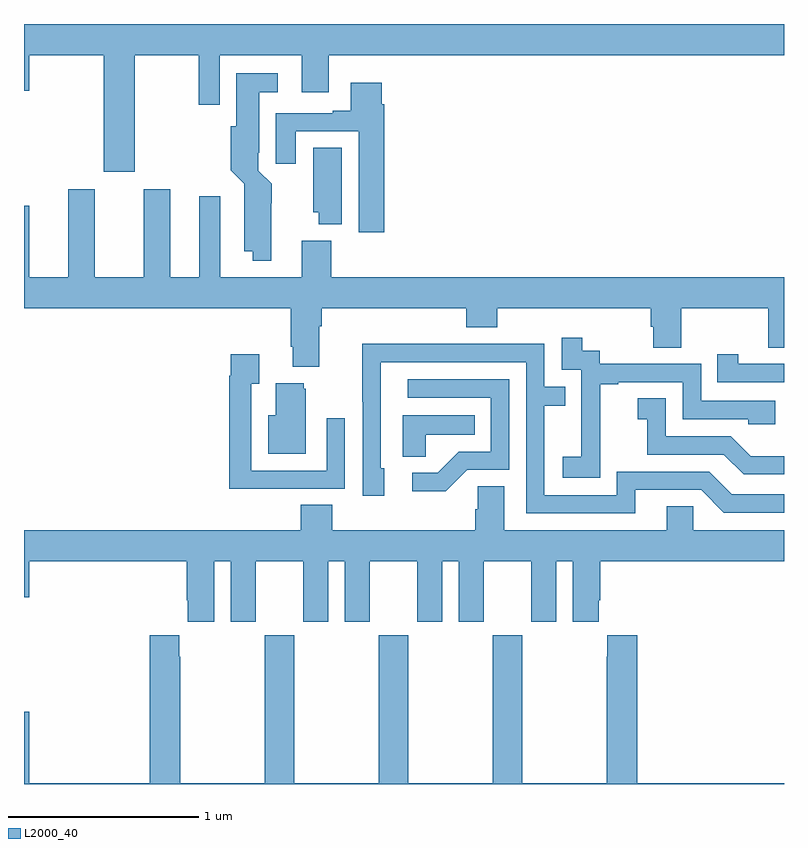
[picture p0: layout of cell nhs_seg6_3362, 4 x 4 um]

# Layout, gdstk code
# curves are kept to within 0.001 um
import gdstk
lib = gdstk.Library(unit=1e-6, precision=1e-09)
def P(c, l, *ps):  # polygons
    for p in ps: c.add(gdstk.Polygon(p, *l))
L2000_40 = (2000, 40)

nhs_seg6_3362 = lib.new_cell('nhs_seg6_3362')
P(nhs_seg6_3362, L2000_40, [(309.583,947.336),(309.921,947.336),(309.921,947.076),(310.029,947.076),(310.029,947.336),(310.463,947.336),(310.463,947.142),(310.603,947.142),(310.603,947.336),(313,947.336),(313,947.5),(309,947.5),(309,947.148),(309.028,947.148),(309.028,947.336),(309.419,947.336),(309.419,946.722),(309.583,946.722)],
  [(310.302,946.556),(310.303,946.658),(310.233,946.728),(310.233,946.822),(310.237,946.822),(310.237,947.141),(310.336,947.141),(310.336,947.242),(310.118,947.242),(310.118,946.962),(310.088,946.962),(310.088,946.73),(310.16,946.658),(310.16,946.304),(310.205,946.304),(310.205,946.253),(310.302,946.253)],
  [(310.895,947.078),(310.882,947.078),(310.882,947.191),(310.721,947.191),(310.721,947.044),(310.625,947.044),(310.625,947.031),(310.325,947.031),(310.325,946.764),(310.429,946.764),(310.429,946.935),(310.763,946.935),(310.763,946.404),(310.895,946.404)],
  [(310.672,946.85),(310.523,946.85),(310.523,946.509),(310.55,946.509),(310.55,946.445),(310.672,946.445)],
  [(310.555,945.908),(310.568,945.908),(310.568,946.004),(311.327,946.004),(311.327,945.905),(311.492,945.905),(311.492,946.004),(312.299,946.004),(312.299,945.906),(312.311,945.906),(312.311,945.796),(312.459,945.796),(312.459,946.004),(312.916,946.004),(312.916,945.796),(313,945.796),(313,946.168),(310.616,946.168),(310.616,946.36),(310.463,946.36),(310.463,946.168),(310.033,946.168),(310.033,946.594),(309.923,946.594),(309.923,946.168),(309.769,946.168),(309.769,946.63),(309.629,946.63),(309.629,946.168),(309.373,946.168),(309.373,946.63),(309.233,946.63),(309.233,946.168),(309.028,946.168),(309.028,946.543),(309,946.543),(309,946.004),(310.403,946.004),(310.403,945.802),(310.415,945.802),(310.415,945.695),(310.555,945.695)],
  [(312.033,945.319),(312.032,945.319),(312.032,945.603),(312.127,945.603),(312.127,945.615),(312.468,945.615),(312.468,945.42),(312.813,945.42),(312.813,945.393),(312.953,945.393),(312.953,945.516),(312.564,945.516),(312.564,945.711),(312.03,945.711),(312.03,945.78),(311.938,945.78),(311.938,945.85),(311.829,945.85),(311.829,945.681),(311.934,945.681),(311.934,945.452),(311.933,945.452),(311.933,945.223),(311.835,945.223),(311.835,945.113),(312.033,945.113)],
  [(312.217,945.048),(312.564,945.048),(312.684,944.928),(313,944.928),(313,945.024),(312.726,945.024),(312.606,945.144),(312.12,945.144),(312.12,945.021),(311.739,945.021),(311.739,945.49),(311.849,945.49),(311.849,945.591),(311.739,945.591),(311.739,945.816),(311.243,945.816),(311.243,945.818),(310.78,945.818),(310.78,945.511),(310.782,945.511),(310.782,945.018),(310.897,945.018),(310.897,945.162),(310.878,945.162),(310.878,945.72),(311.643,945.72),(311.643,944.925),(312.217,944.925)],
  [(313,945.711),(312.76,945.711),(312.76,945.763),(312.649,945.763),(312.649,945.615),(313,945.615)],
  [(310.373,945.054),(310.689,945.054),(310.689,945.424),(310.593,945.424),(310.593,945.15),(310.197,945.15),(310.197,945.607),(310.237,945.607),(310.237,945.763),(310.089,945.763),(310.089,945.65),(310.081,945.65),(310.081,945.053),(310.373,945.053)],
  [(311.334,945.153),(311.553,945.153),(311.553,945.63),(311.019,945.63),(311.019,945.534),(311.457,945.534),(311.457,945.249),(311.288,945.249),(311.177,945.138),(311.043,945.138),(311.043,945.041),(311.221,945.041)],
  [(310.483,945.579),(310.472,945.579),(310.472,945.61),(310.325,945.61),(310.325,945.442),(310.286,945.442),(310.286,945.239),(310.483,945.239)],
  [(313,945.226),(312.824,945.226),(312.72,945.33),(312.378,945.33),(312.378,945.529),(312.231,945.529),(312.231,945.419),(312.28,945.419),(312.28,945.234),(312.683,945.234),(312.788,945.129),(313,945.129)],
  [(311.115,945.338),(311.372,945.338),(311.372,945.442),(310.994,945.442),(310.994,945.223),(311.115,945.223)],
  [(310,944.672),(310.088,944.672),(310.088,944.355),(310.219,944.355),(310.219,944.672),(310.469,944.672),(310.469,944.355),(310.6,944.355),(310.6,944.672),(310.688,944.672),(310.688,944.355),(310.819,944.355),(310.819,944.672),(311.069,944.672),(311.069,944.355),(311.2,944.355),(311.2,944.672),(311.288,944.672),(311.288,944.355),(311.419,944.355),(311.419,944.672),(311.669,944.672),(311.669,944.355),(311.8,944.355),(311.8,944.672),(311.888,944.672),(311.888,944.355),(312.025,944.355),(312.025,944.467),(312.032,944.467),(312.032,944.672),(313,944.672),(313,944.836),(312.522,944.836),(312.522,944.963),(312.383,944.963),(312.383,944.836),(311.527,944.836),(311.527,945.068),(311.388,945.068),(311.388,944.945),(311.375,944.945),(311.375,944.836),(310.622,944.836),(310.622,944.969),(310.457,944.969),(310.457,944.836),(309,944.836),(309,944.484),(309.028,944.484),(309.028,944.672),(309.857,944.672),(309.857,944.467),(309.863,944.467),(309.863,944.355),(310,944.355)],
  [(313,943.504),(312.227,943.504),(312.227,944.284),(312.071,944.284),(312.071,944.171),(312.067,944.171),(312.067,943.504),(311.622,943.504),(311.622,944.284),(311.467,944.284),(311.467,943.504),(311.022,943.504),(311.022,944.284),(310.867,944.284),(310.867,943.504),(310.422,943.504),(310.422,944.284),(310.267,944.284),(310.267,943.504),(309.822,943.504),(309.822,944.171),(309.817,944.171),(309.817,944.284),(309.662,944.284),(309.662,943.504),(309.028,943.504),(309.028,943.879),(309,943.879),(309,943.5),(313,943.5)])

lib.write_gds('nhs_seg6_3362.gds')
